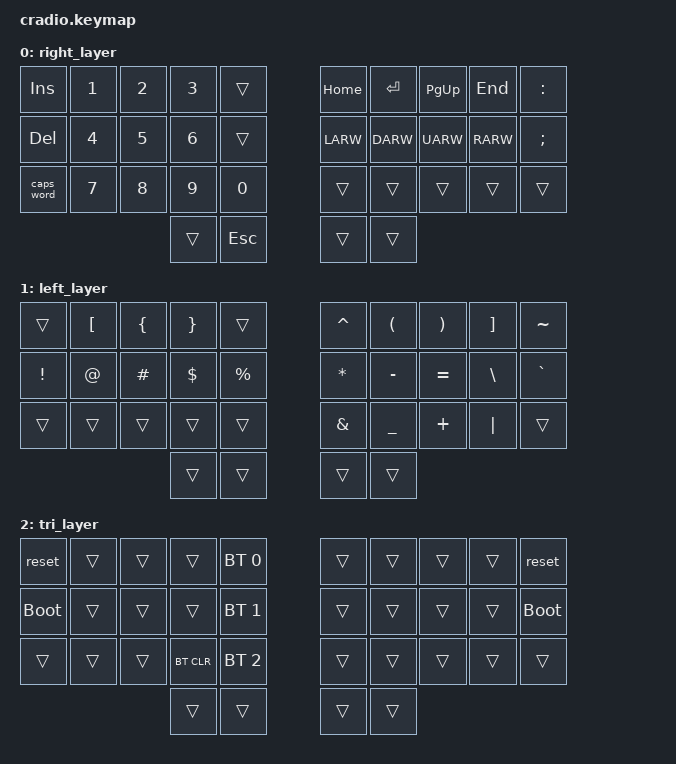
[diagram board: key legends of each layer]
// Copyright (c) 2022 The ZMK Contributors
// SPDX-License-Identifier: MIT

#include <behaviors.dtsi>
#include <dt-bindings/zmk/keys.h>
#include <dt-bindings/zmk/bt.h>

// Home row mods macro
#define HRML(k1,k2,k3,k4) &ht LSHFT k1  &ht LALT k2  &ht LCTRL k3  &ht LGUI k4
#define HRMR(k1,k2,k3,k4) &ht RGUI k1  &ht RCTRL k2  &ht RALT k3  &ht RSHFT k4

/ {
    behaviors {
        ht: hold_tap {
            label = "hold_tap";
            compatible = "zmk,behavior-hold-tap";
            #binding-cells = <2>;
            flavor = "tap-unless-interrupted";
            tapping-term-ms = <180>;
            quick-tap-ms = <150>;
            global-quick-tap;
            bindings = <&kp>, <&kp>;
        };
    };

    conditional_layers {
        compatible = "zmk,conditional-layers";
        tri_layer {
            if-layers = <1 2>;
            then-layer = <3>;
        };
    };

    keymap {
        compatible = "zmk,keymap";
        default_layer {
            bindings = <
        //╭──────────┬──────────┬──────────┬──────────┬──────────╮   ╭──────────┬──────────┬──────────┬──────────┬──────────╮
        //│  Q       │  W       │  F       │  P       │  G       │   │  J       │  L       │  U       │  Y       │ ' "      │
            &kp Q      &kp W      &kp F      &kp P      &kp G          &kp J      &kp L      &kp U      &kp Y         SQT)
        //├──────────┼──────────┼──────────┼──────────┼──────────┤   ├──────────┼──────────┼──────────┼──────────┼──────────┤
        //│  A       │  R       │  S       │  T       │  D       │   │  H       │  N       │  E       │  I       │  O       │
            HRML(A,        R,         S,         T)     &kp D          &kp H      HRMR(N,        E,         I,     &kp O 
        //├──────────┼──────────┼──────────┼──────────┼──────────┤   ├──────────┼──────────┼──────────┼──────────┼──────────┤
        //│  Z       │  X       │  C       │  V       │  B       │   │  K       │  M       │ , <      │ . >      │ / ?      │
            &kp Z      &kp X      &kp C      &kp V      &kp B          &kp K      &kp M      &kp COMMA  &kp DOT    &kp FSLH
        //╰──────────┴──────────┴──────────┼──────────┼──────────┤   ├──────────┼──────────┼──────────┴──────────┴──────────╯
                                            &lt 2 TAB   &kp SPACE     &kp SHIFT  &lt 1 BSPC
        //                                 ╰──────────┴──────────╯   ╰──────────┴──────────╯
            >;
        };

        right_layer {
            bindings = <
        //╭──────────┬──────────┬──────────┬──────────┬──────────╮   ╭──────────┬──────────┬──────────┬──────────┬──────────╮
        //│ INSERT   │  1       │  2       │  3       │          │   │ HOME     │ ENTER    │ PAGE UP  │ END      │  :       │
            &kp INS    &kp N1     &kp N2     &kp N3     &trans         &kp HOME   &kp ENTER  &kp PG_UP  &kp END    &kp COLON
        //├──────────┼──────────┼──────────┼──────────┼──────────┤   ├──────────┼──────────┼──────────┼──────────┼──────────┤
        //│ DELETE   │  4       │  5       │  6       │          │   │ LEFT     │ DOWN     │ UP       │ RIGHT    │  ;       │
            &kp DEL    &kp N4     &kp N5     &kp N6     &trans         &kp LARW   &kp DARW   &kp UARW   &kp RARW   &kp SEMI
        //├──────────┼──────────┼──────────┼──────────┼──────────┤   ├──────────┼──────────┼──────────┼──────────┼──────────┤
        //│ CAPS     │  7       │  8       │  9       │  0       │   │          │          │          │          │          │
           &caps_word  &kp N7     &kp N8     &kp N9     &kp N0         &trans     &trans     &trans     &trans     &trans
        //╰──────────┴──────────┴──────────┼──────────┼──────────┤   ├──────────┼──────────┼──────────┴──────────┴──────────╯
                                             &trans     &kp ESC        &trans     &trans
        //                                 ╰──────────┴──────────╯   ╰──────────┴──────────╯
            >;
        };

        left_layer {
            bindings = <
        //╭──────────┬──────────┬──────────┬──────────┬──────────╮   ╭──────────┬──────────┬──────────┬──────────┬──────────╮
        //│          │  [       │  {       │  }       │          │   │  ^       │  (       │  )       │  ]       │  ~       │
            &trans     &kp LBKT   &kp LBRC   &kp RBRC   &trans         &kp CARET  &kp LPAR   &kp RPAR   &kp RBKT   &kp TILDE
        //├──────────┼──────────┼──────────┼──────────┼──────────┤   ├──────────┼──────────┼──────────┼──────────┼──────────┤
        //│  !       │  @       │  #       │  $       │  %       │   │  *       │  -       │  =       │  \       │  `       │
            &kp EXCL   &kp AT     &kp HASH   &kp DLLR   &kp PRCNT      &kp ASTRK  &kp MINUS  &kp EQUAL  &kp BSLH   &kp GRAVE
        //├──────────┼──────────┼──────────┼──────────┼──────────┤   ├──────────┼──────────┼──────────┼──────────┼──────────┤
        //│          │          │          │          │          │   │  &       │  _       │  +       │  │       │          │
            &trans     &trans     &trans     &trans     &trans         &kp AMPS   &kp UNDER  &kp PLUS   &kp PIPE   &trans
        //╰──────────┴──────────┴──────────┼──────────┼──────────┤   ├──────────┼──────────┼──────────┴──────────┴──────────╯
                                             &trans     &trans         &trans     &trans
        //                                 ╰──────────┴──────────╯   ╰──────────┴──────────╯
            >;
        };

        tri_layer {
            bindings = <
        //╭──────────┬──────────┬──────────┬──────────┬──────────╮   ╭──────────┬──────────┬──────────┬──────────┬──────────╮
        //│ RESET    │          │          │          │PROFILE 0 │   │          │          │          │          │  RESET   │
            &reset     &trans     &trans     &trans    &bt BT_SEL 0    &trans     &trans     &trans     &trans      &reset
        //├──────────┼──────────┼──────────┼──────────┼──────────┤   ├──────────┼──────────┼──────────┼──────────┼──────────┤
        //│BOOTLOADER│          │          │          │PROFILE 1 │   │          │          │          │          │BOOTLOADER│
          &bootloader  &trans     &trans     &trans    &bt BT_SEL 1    &trans     &trans     &trans     &trans    &bootloader
        //├──────────┼──────────┼──────────┼──────────┼──────────┤   ├──────────┼──────────┼──────────┼──────────┼──────────┤
        //│          │          │          │ CLEAR BT │PROFILE 2 │   │          │          │          │          │          │
            &trans     &trans     &trans    &bt BT_CLR &bt BT_SEL 2    &trans     &trans     &trans     &trans     &trans
        //╰──────────┴──────────┴──────────┼──────────┼──────────┤   ├──────────┼──────────┼──────────┴──────────┴──────────╯
                                             &trans     &trans         &trans     &trans
        //                                 ╰──────────┴──────────╯   ╰──────────┴──────────╯
            >;
        };
    };
};
